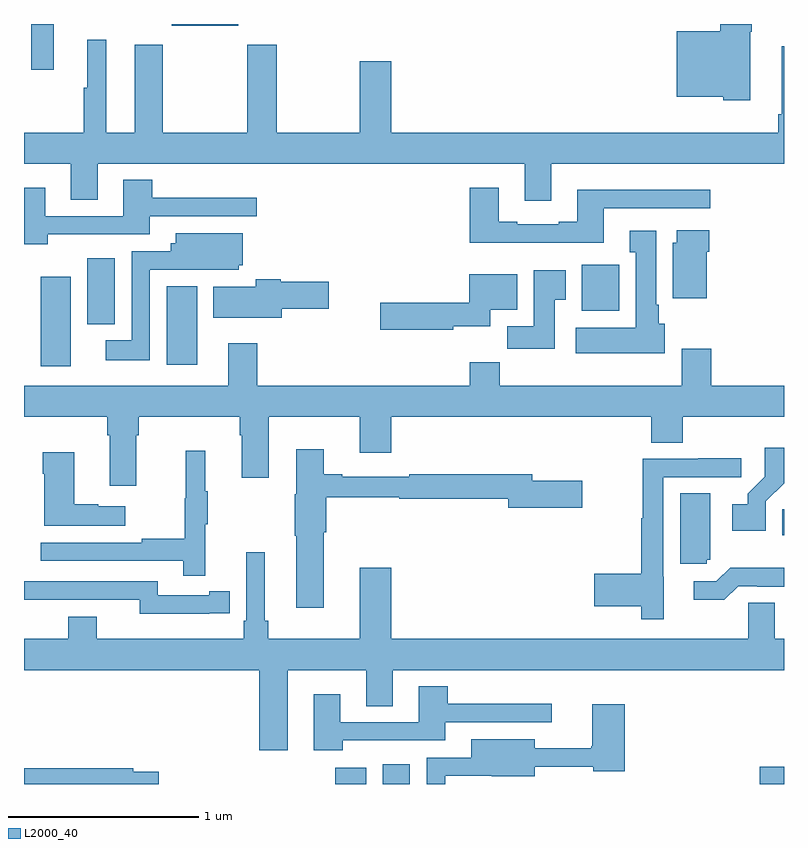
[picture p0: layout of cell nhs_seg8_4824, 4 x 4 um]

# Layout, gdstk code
import gdstk
lib = gdstk.Library(unit=1e-6, precision=1e-09)
def R(c, l, rs):  # rectangles x0, y0, x1, y1
    for r in rs: c.add(gdstk.rectangle(r[:2], r[2:], *l))
def P(c, l, *ps):  # polygons
    for p in ps: c.add(gdstk.Polygon(p, *l))
L2000_40 = (2000, 40)

nhs_seg8_4824 = lib.new_cell('nhs_seg8_4824')
R(nhs_seg8_4824, L2000_40, [(404.639,1115.9,404.8,1115.986), (404.888,1115.9,405.031,1116.004), (406.872,1115.9,407,1115.99), (406.99,1117.208,407,1117.346), (403.088,1118.1,403.246,1118.569), (403.751,1118.106,403.912,1118.521), (403.334,1118.321,403.477,1118.668), (405.935,1118.39,406.132,1118.632), (403.039,1119.66,403.157,1119.9), (403.778,1119.89,404.128,1119.9)])
P(nhs_seg8_4824, L2000_40, [(406.822,1119.858),(406.83,1119.858),(406.83,1119.9),(406.664,1119.9),(406.664,1119.862),(406.436,1119.862),(406.436,1119.518),(406.68,1119.518),(406.68,1119.5),(406.822,1119.5)],
  [(405.775,1119.164),(407,1119.164),(407,1119.784),(406.988,1119.784),(406.988,1119.424),(406.969,1119.424),(406.969,1119.328),(404.932,1119.328),(404.932,1119.703),(404.768,1119.703),(404.768,1119.328),(404.331,1119.328),(404.331,1119.79),(404.176,1119.79),(404.176,1119.328),(403.731,1119.328),(403.731,1119.79),(403.583,1119.79),(403.583,1119.328),(403.432,1119.328),(403.432,1119.817),(403.334,1119.817),(403.334,1119.564),(403.315,1119.564),(403.315,1119.328),(403,1119.328),(403,1119.164),(403.247,1119.164),(403.247,1118.974),(403.387,1118.974),(403.387,1119.164),(405.635,1119.164),(405.635,1118.97),(405.775,1118.97)],
  [(403.124,1118.793),(403.663,1118.793),(403.663,1118.889),(404.224,1118.889),(404.224,1118.986),(403.676,1118.986),(403.676,1119.079),(403.523,1119.079),(403.523,1118.889),(403.111,1118.889),(403.111,1119.037),(403,1119.037),(403,1118.742),(403.124,1118.742)],
  [(406.051,1118.931),(406.612,1118.931),(406.612,1119.028),(405.911,1119.028),(405.911,1118.86),(405.815,1118.86),(405.815,1118.847),(405.595,1118.847),(405.595,1118.86),(405.499,1118.86),(405.499,1119.037),(405.347,1119.037),(405.347,1118.75),(406.051,1118.75)],
  [(406.594,1118.702),(406.607,1118.702),(406.607,1118.815),(406.436,1118.815),(406.436,1118.748),(406.415,1118.748),(406.415,1118.456),(406.594,1118.456)],
  [(406.372,1118.322),(406.342,1118.322),(406.342,1118.422),(406.327,1118.422),(406.327,1118.812),(406.187,1118.812),(406.187,1118.699),(406.22,1118.699),(406.22,1118.302),(405.903,1118.302),(405.903,1118.168),(406.372,1118.168)],
  [(403.662,1118.607),(403.908,1118.607),(403.908,1118.606),(404.13,1118.606),(404.13,1118.631),(404.152,1118.631),(404.152,1118.8),(403.799,1118.8),(403.799,1118.745),(403.772,1118.745),(403.772,1118.703),(403.566,1118.703),(403.566,1118.236),(403.431,1118.236),(403.431,1118.129),(403.662,1118.129)],
  [(405.793,1118.449),(405.85,1118.449),(405.85,1118.605),(405.683,1118.605),(405.683,1118.308),(405.544,1118.308),(405.544,1118.19),(405.793,1118.19)],
  [(405.258,1118.309),(405.454,1118.309),(405.454,1118.396),(405.595,1118.396),(405.595,1118.584),(405.344,1118.584),(405.344,1118.432),(404.874,1118.432),(404.874,1118.29),(405.258,1118.29)],
  [(404.356,1118.401),(404.605,1118.401),(404.605,1118.543),(404.352,1118.543),(404.352,1118.556),(404.22,1118.556),(404.22,1118.518),(403.997,1118.518),(403.997,1118.354),(404.356,1118.354)],
  [(403.591,1117.736),(403.604,1117.736),(403.604,1117.832),(404.135,1117.832),(404.135,1117.736),(404.147,1117.736),(404.147,1117.512),(404.287,1117.512),(404.287,1117.832),(404.768,1117.832),(404.768,1117.644),(404.932,1117.644),(404.932,1117.832),(406.301,1117.832),(406.301,1117.696),(406.466,1117.696),(406.466,1117.832),(407,1117.832),(407,1117.996),(406.616,1117.996),(406.616,1118.191),(406.463,1118.191),(406.463,1117.996),(405.503,1117.996),(405.503,1118.12),(405.347,1118.12),(405.347,1117.996),(404.228,1117.996),(404.228,1118.221),(404.075,1118.221),(404.075,1117.996),(403,1117.996),(403,1117.832),(403.439,1117.832),(403.439,1117.736),(403.451,1117.736),(403.451,1117.47),(403.591,1117.47)],
  [(406.905,1117.387),(407,1117.482),(407,1117.669),(406.899,1117.669),(406.899,1117.517),(406.808,1117.427),(406.808,1117.372),(406.728,1117.372),(406.728,1117.232),(406.905,1117.232)],
  [(404.578,1117.225),(404.591,1117.225),(404.591,1117.41),(404.974,1117.41),(404.974,1117.402),(405.548,1117.402),(405.548,1117.355),(405.937,1117.355),(405.937,1117.497),(405.676,1117.497),(405.676,1117.531),(405.028,1117.531),(405.028,1117.518),(404.674,1117.518),(404.674,1117.531),(404.578,1117.531),(404.578,1117.663),(404.432,1117.663),(404.432,1117.425),(404.425,1117.425),(404.425,1117.207),(404.432,1117.207),(404.432,1116.828),(404.578,1116.828)],
  [(403.955,1117.267),(403.966,1117.267),(403.966,1117.441),(403.955,1117.441),(403.955,1117.654),(403.852,1117.654),(403.852,1117.404),(403.845,1117.404),(403.845,1117.19),(403.621,1117.19),(403.621,1117.17),(403.089,1117.17),(403.089,1117.074),(403.837,1117.074),(403.837,1116.996),(403.955,1116.996)],
  [(403.534,1117.363),(403.391,1117.363),(403.391,1117.373),(403.264,1117.373),(403.264,1117.645),(403.099,1117.645),(403.099,1117.532),(403.106,1117.532),(403.106,1117.259),(403.534,1117.259)],
  [(406.366,1116.99),(406.365,1116.99),(406.365,1117.515),(406.774,1117.515),(406.774,1117.614),(406.549,1117.614),(406.549,1117.611),(406.257,1117.611),(406.257,1117.299),(406.249,1117.299),(406.249,1117.007),(406.002,1117.007),(406.002,1116.836),(406.249,1116.836),(406.249,1116.768),(406.366,1116.768)],
  [(406.593,1117.08),(406.612,1117.08),(406.612,1117.429),(406.454,1117.429),(406.454,1117.059),(406.593,1117.059)],
  [(404.389,1116.5),(404.801,1116.5),(404.801,1116.31),(404.941,1116.31),(404.941,1116.5),(407,1116.5),(407,1116.664),(406.951,1116.664),(406.951,1116.854),(406.812,1116.854),(406.812,1116.664),(404.932,1116.664),(404.932,1117.039),(404.768,1117.039),(404.768,1116.664),(404.285,1116.664),(404.285,1116.76),(404.266,1116.76),(404.266,1117.12),(404.169,1117.12),(404.169,1116.76),(404.156,1116.76),(404.156,1116.664),(403.384,1116.664),(403.384,1116.781),(403.232,1116.781),(403.232,1116.664),(403,1116.664),(403,1116.5),(404.237,1116.5),(404.237,1116.078),(404.389,1116.078)],
  [(406.758,1116.942),(406.858,1116.942),(406.858,1116.939),(407,1116.939),(407,1117.039),(406.717,1117.039),(406.644,1116.966),(406.524,1116.966),(406.524,1116.869),(406.685,1116.869)],
  [(403.976,1116.798),(404.084,1116.798),(404.084,1116.914),(403.976,1116.914),(403.976,1116.894),(403.704,1116.894),(403.704,1116.966),(403,1116.966),(403,1116.869),(403.148,1116.869),(403.148,1116.87),(403.608,1116.87),(403.608,1116.797),(403.976,1116.797)],
  [(404.678,1116.129),(405.217,1116.129),(405.217,1116.225),(405.778,1116.225),(405.778,1116.322),(405.23,1116.322),(405.23,1116.415),(405.077,1116.415),(405.077,1116.225),(404.665,1116.225),(404.665,1116.373),(404.525,1116.373),(404.525,1116.078),(404.678,1116.078)],
  [(405.216,1115.943),(405.462,1115.943),(405.462,1115.942),(405.688,1115.942),(405.688,1115.991),(405.996,1115.991),(405.996,1115.966),(406.163,1115.966),(406.163,1116.319),(405.992,1116.319),(405.992,1116.1),(405.985,1116.1),(405.985,1116.088),(405.688,1116.088),(405.688,1116.136),(405.353,1116.136),(405.353,1116.039),(405.12,1116.039),(405.12,1115.9),(405.216,1115.9)],
  [(403.708,1115.964),(403.574,1115.964),(403.574,1115.984),(403,1115.984),(403,1115.9),(403.708,1115.9)])

lib.write_gds('nhs_seg8_4824.gds')
